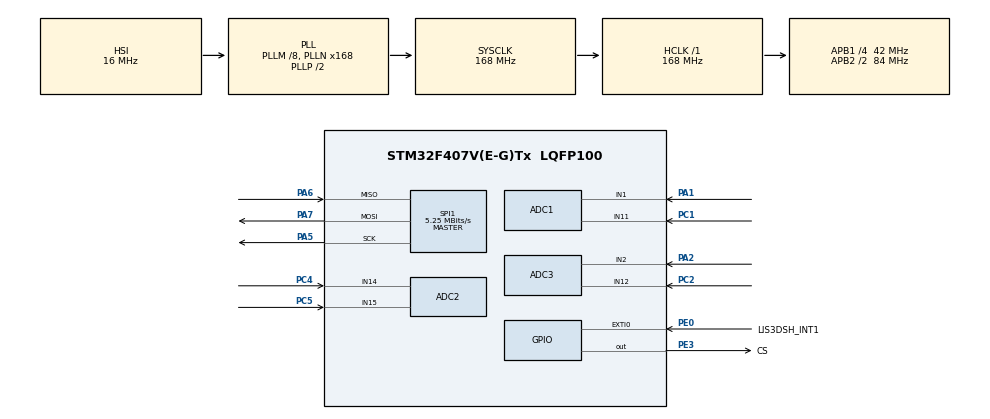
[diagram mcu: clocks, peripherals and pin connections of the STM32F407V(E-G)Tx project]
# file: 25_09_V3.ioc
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ADC1.Channel-0\#ChannelRegularConversion=ADC_CHANNEL_TEMPSENSOR
ADC1.Channel-1\#ChannelInjectedConversion=ADC_CHANNEL_1
ADC1.Channel-2\#ChannelInjectedConversion=ADC_CHANNEL_11
ADC1.DMAContinuousRequests=ENABLE
ADC1.ExternalTrigConv=ADC_EXTERNALTRIGCONV_T3_TRGO
ADC1.ExternalTrigInjecConv=ADC_EXTERNALTRIGINJECCONV_T2_TRGO
ADC1.InjNumberOfConversion=2
ADC1.InjectedOffset-1\#ChannelInjectedConversion=0
ADC1.InjectedOffset-2\#ChannelInjectedConversion=0
ADC1.InjectedRank-1\#ChannelInjectedConversion=1
ADC1.InjectedRank-2\#ChannelInjectedConversion=2
ADC1.Mode=ADC_TRIPLEMODE_INJECSIMULT
ADC1.NbrOfConversionFlag=1
ADC1.Rank-0\#ChannelRegularConversion=1
ADC1.SamplingTime-0\#ChannelRegularConversion=ADC_SAMPLETIME_480CYCLES
ADC1.SamplingTime-1\#ChannelInjectedConversion=ADC_SAMPLETIME_15CYCLES
ADC1.SamplingTime-2\#ChannelInjectedConversion=ADC_SAMPLETIME_15CYCLES
ADC1.master=1
ADC2.Channel-1\#ChannelRegularConversion=ADC_CHANNEL_14
ADC2.Channel-2\#ChannelInjectedConversion=ADC_CHANNEL_14
ADC2.Channel-3\#ChannelInjectedConversion=ADC_CHANNEL_15
ADC2.InjNumberOfConversion=2
ADC2.InjectedOffset-2\#ChannelInjectedConversion=0
ADC2.InjectedOffset-3\#ChannelInjectedConversion=0
ADC2.InjectedRank-2\#ChannelInjectedConversion=1
ADC2.InjectedRank-3\#ChannelInjectedConversion=2
ADC2.Mode=ADC_TRIPLEMODE_INJECSIMULT
ADC2.NbrOfConversionFlag=1
ADC2.Rank-1\#ChannelRegularConversion=1
ADC2.SamplingTime-1\#ChannelRegularConversion=ADC_SAMPLETIME_3CYCLES
ADC2.SamplingTime-2\#ChannelInjectedConversion=ADC_SAMPLETIME_15CYCLES
ADC2.SamplingTime-3\#ChannelInjectedConversion=ADC_SAMPLETIME_15CYCLES
ADC3.Channel-2\#ChannelRegularConversion=ADC_CHANNEL_2
ADC3.Channel-3\#ChannelInjectedConversion=ADC_CHANNEL_12
ADC3.Channel-4\#ChannelInjectedConversion=ADC_CHANNEL_2
ADC3.InjNumberOfConversion=2
ADC3.InjectedOffset-3\#ChannelInjectedConversion=0
ADC3.InjectedOffset-4\#ChannelInjectedConversion=0
ADC3.InjectedRank-3\#ChannelInjectedConversion=1
ADC3.InjectedRank-4\#ChannelInjectedConversion=2
ADC3.Mode=ADC_TRIPLEMODE_INJECSIMULT
ADC3.NbrOfConversionFlag=1
ADC3.Rank-2\#ChannelRegularConversion=1
ADC3.SamplingTime-2\#ChannelRegularConversion=ADC_SAMPLETIME_3CYCLES
ADC3.SamplingTime-3\#ChannelInjectedConversion=ADC_SAMPLETIME_15CYCLES
ADC3.SamplingTime-4\#ChannelInjectedConversion=ADC_SAMPLETIME_15CYCLES
Dma.ADC1.2.Direction=DMA_PERIPH_TO_MEMORY
Dma.ADC1.2.FIFOMode=DMA_FIFOMODE_DISABLE
Dma.ADC1.2.Instance=DMA2_Stream4
Dma.ADC1.2.MemDataAlignment=DMA_MDATAALIGN_HALFWORD
Dma.ADC1.2.MemInc=DMA_MINC_ENABLE
Dma.ADC1.2.Mode=DMA_CIRCULAR
Dma.ADC1.2.PeriphDataAlignment=DMA_PDATAALIGN_HALFWORD
Dma.ADC1.2.PeriphInc=DMA_PINC_DISABLE
Dma.ADC1.2.Priority=DMA_PRIORITY_LOW
Dma.Request0=SPI1_RX
Dma.Request1=SPI1_TX
Dma.Request2=ADC1
Dma.SPI1_RX.0.Direction=DMA_PERIPH_TO_MEMORY
Dma.SPI1_RX.0.FIFOMode=DMA_FIFOMODE_DISABLE
Dma.SPI1_RX.0.Instance=DMA2_Stream0
Dma.SPI1_RX.0.MemDataAlignment=DMA_MDATAALIGN_BYTE
Dma.SPI1_RX.0.MemInc=DMA_MINC_ENABLE
Dma.SPI1_RX.0.Mode=DMA_NORMAL
Dma.SPI1_RX.0.PeriphDataAlignment=DMA_PDATAALIGN_BYTE
Dma.SPI1_RX.0.PeriphInc=DMA_PINC_DISABLE
Dma.SPI1_RX.0.Priority=DMA_PRIORITY_LOW
Dma.SPI1_TX.1.Direction=DMA_MEMORY_TO_PERIPH
Dma.SPI1_TX.1.FIFOMode=DMA_FIFOMODE_DISABLE
Dma.SPI1_TX.1.Instance=DMA2_Stream3
Dma.SPI1_TX.1.MemDataAlignment=DMA_MDATAALIGN_BYTE
Dma.SPI1_TX.1.MemInc=DMA_MINC_ENABLE
Dma.SPI1_TX.1.Mode=DMA_NORMAL
Dma.SPI1_TX.1.PeriphDataAlignment=DMA_PDATAALIGN_BYTE
Dma.SPI1_TX.1.PeriphInc=DMA_PINC_DISABLE
Dma.SPI1_TX.1.Priority=DMA_PRIORITY_LOW
FREERTOS.Tasks01=defaultTask,24,128,StartDefaultTask,Default,NULL,Dynamic,NULL,NULL;SPI_Task,8,512,SPI_Task_Start,Default,NULL,Dynamic,NULL,NULL;Monitor_Task,8,512,Monitor_Task_Start,Default,NULL,Dynamic,NULL,NULL
FREERTOS.configUSE_NEWLIB_REENTRANT=1
Mcu.Family=STM32F4
Mcu.Name=STM32F407V(E-G)Tx
Mcu.Package=LQFP100
NVIC.ADC_IRQn=true\:5\:0\:false\:false\:true\:true\:true\:true\:true
NVIC.DMA2_Stream0_IRQn=true\:5\:0\:false\:false\:true\:true\:false\:true\:true
NVIC.DMA2_Stream3_IRQn=true\:5\:0\:false\:false\:true\:true\:false\:true\:true
NVIC.DMA2_Stream4_IRQn=true\:5\:0\:false\:false\:true\:true\:false\:true\:true
NVIC.EXTI0_IRQn=true\:5\:0\:false\:false\:true\:false\:true\:true\:true
NVIC.PriorityGroup=NVIC_PRIORITYGROUP_4
NVIC.TIM6_DAC_IRQn=true\:5\:0\:false\:false\:true\:true\:false\:true\:true
NVIC.TimeBase=TIM6_DAC_IRQn
NVIC.TimeBaseIP=TIM6
PA1.Signal=ADCx_IN1
PA2.Signal=ADCx_IN2
PA5.Mode=Full_Duplex_Master
PA5.Signal=SPI1_SCK
PA6.Mode=Full_Duplex_Master
PA6.Signal=SPI1_MISO
PA7.Mode=Full_Duplex_Master
PA7.Signal=SPI1_MOSI
PC1.Signal=ADCx_IN11
PC14-OSC32_IN.Mode=LSE-External-Oscillator
PC14-OSC32_IN.Signal=RCC_OSC32_IN
PC15-OSC32_OUT.Mode=LSE-External-Oscillator
PC15-OSC32_OUT.Signal=RCC_OSC32_OUT
PC2.Signal=ADCx_IN12
PC4.Signal=ADCx_IN14
PC5.Signal=ADCx_IN15
PE0.GPIO_Label=LIS3DSH_INT1
PE0.Signal=GPXTI0
PE3.GPIO_Label=CS
PE3.Signal=GPIO_Output
ProjectManager.HeapSize=0x200
ProjectManager.StackSize=0x400
ProjectManager.TargetToolchain=STM32CubeIDE
RCC.48MHZClocksFreq_Value=84000000
RCC.AHBFreq_Value=168000000
RCC.APB1CLKDivider=RCC_HCLK_DIV4
RCC.APB1Freq_Value=42000000
RCC.APB1TimFreq_Value=84000000
RCC.APB2CLKDivider=RCC_HCLK_DIV2
RCC.APB2Freq_Value=84000000
RCC.APB2TimFreq_Value=168000000
RCC.CortexFreq_Value=168000000
RCC.HCLKFreq_Value=168000000
RCC.HSE_VALUE=25000000
RCC.HSI_VALUE=16000000
RCC.PLLM=8
RCC.PLLN=168
RCC.SYSCLKFreq_VALUE=168000000
RCC.SYSCLKSource=RCC_SYSCLKSOURCE_PLLCLK
RCC.VCOOutputFreq_Value=336000000
SH.ADCx_IN1.0=ADC1_IN1,IN1
SH.ADCx_IN11.0=ADC1_IN11,IN11
SH.ADCx_IN12.0=ADC3_IN12,IN12
SH.ADCx_IN14.0=ADC2_IN14,IN14
SH.ADCx_IN15.0=ADC2_IN15,IN15
SH.ADCx_IN2.0=ADC3_IN2,IN2
SPI1.BaudRatePrescaler=SPI_BAUDRATEPRESCALER_16
SPI1.CalculateBaudRate=5.25 MBits/s
SPI1.Direction=SPI_DIRECTION_2LINES
SPI1.Mode=SPI_MODE_MASTER
SPI1.VirtualType=VM_MASTER
TIM2.Period=4199
TIM2.TIM_MasterOutputTrigger=TIM_TRGO_UPDATE
TIM3.Period=99
TIM3.Prescaler=8399
TIM3.TIM_MasterOutputTrigger=TIM_TRGO_UPDATE
VP_ADC1_TempSens_Input.Mode=IN-TempSens
VP_FREERTOS_VS_CMSIS_V2.Mode=CMSIS_V2
VP_SYS_VS_tim6.Mode=TIM6
VP_TIM2_VS_ClockSourceINT.Mode=Internal
VP_TIM3_VS_ClockSourceINT.Mode=Internal
board=custom

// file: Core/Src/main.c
/* USER CODE BEGIN Header */
/**
  ******************************************************************************
  * @file           : main.c
  * @brief          : Main program body
  ******************************************************************************
  * @attention
  *
  * Copyright (c) 2026 STMicroelectronics.
  * All rights reserved.
  *
  * This software is licensed under terms that can be found in the LICENSE file
  * in the root directory of this software component.
  * If no LICENSE file comes with this software, it is provided AS-IS.
  *
  ******************************************************************************
  */
/* USER CODE END Header */
#include "main.h"
#include "cmsis_os.h"

/* USER CODE BEGIN Includes */
#include "lis3dsh.h"
/* USER CODE END Includes */

/* USER CODE BEGIN PD */

#define ADC_RATE_WINDOW_MS 1000U

/* USER CODE END PD */

ADC_HandleTypeDef hadc1;
ADC_HandleTypeDef hadc2;
ADC_HandleTypeDef hadc3;
DMA_HandleTypeDef hdma_adc1;

SPI_HandleTypeDef hspi1;
DMA_HandleTypeDef hdma_spi1_rx;
DMA_HandleTypeDef hdma_spi1_tx;

TIM_HandleTypeDef htim2;
TIM_HandleTypeDef htim3;

/* Definitions for defaultTask */
osThreadId_t defaultTaskHandle;
const osThreadAttr_t defaultTask_attributes = {
  .name = "defaultTask",
  .stack_size = 128 * 4,
  .priority = (osPriority_t) osPriorityNormal,
};
/* Definitions for SPI_Task */
osThreadId_t SPI_TaskHandle;
const osThreadAttr_t SPI_Task_attributes = {
  .name = "SPI_Task",
  .stack_size = 512 * 4,
  .priority = (osPriority_t) osPriorityLow,
};
/* Definitions for Monitor_Task */
osThreadId_t Monitor_TaskHandle;
const osThreadAttr_t Monitor_Task_attributes = {
  .name = "Monitor_Task",
  .stack_size = 512 * 4,
  .priority = (osPriority_t) osPriorityLow,
};
/* USER CODE BEGIN PV */

volatile uint16_t adc_current_raw[6];
volatile uint16_t temperature_raw;

volatile uint32_t adc_frame_count = 0;

/* CubeIDE Live Expressions: kanal basina olculen ornekleme frekansi (Hz). */
volatile float adc_current_hz = 0.0f;
volatile float adc_temperature_hz = 0.0f;
volatile uint32_t adc_temperature_count = 0;

/* Yalnizca main dongusu kullanir; kesme sayaclari sifirlanmaz. */
static uint32_t adc_rate_last_tick;
static uint32_t adc_rate_last_frame_count;
static uint32_t adc_rate_last_temperature_count;

//spi
volatile LIS3DSH_AccelData_t accelData = {0};
volatile SensorDebug_t sensorDebug = {0};

/* SPI1 DMA aktarimlarini yalnizca StartTask1 baslatir. */
static uint8_t spiTxBuffer[LIS3DSH_DMA_FRAME_SIZE] =
{LIS3DSH_OUT_X_L | LIS3DSH_READ, 0, 0, 0, 0, 0, 0};

static uint8_t spiRxBuffer[LIS3DSH_DMA_FRAME_SIZE];

/* Task calismaya baslamadan ISR'lerin RTOS bildirimi yapmasini onler. */
static osThreadId_t volatile sensorTaskHandle = NULL;

/* USER CODE END PV */

void SystemClock_Config(void);
static void MX_GPIO_Init(void);
static void MX_DMA_Init(void);
static void MX_SPI1_Init(void);
static void MX_ADC1_Init(void);
static void MX_ADC2_Init(void);
static void MX_ADC3_Init(void);
static void MX_TIM2_Init(void);
static void MX_TIM3_Init(void);
void StartDefaultTask(void *argument);
void SPI_Task_Start(void *argument);
void Monitor_Task_Start(void *argument);

int main(void)
{

  /* MCU Configuration--------------------------------------------------------*/

  /* Reset of all peripherals, Initializes the Flash interface and the Systick. */
  HAL_Init();

  /* Configure the system clock */
  SystemClock_Config();

  /* Initialize all configured peripherals */
  MX_GPIO_Init();
  MX_DMA_Init();
  MX_SPI1_Init();
  MX_ADC1_Init();
  MX_ADC2_Init();
  MX_ADC3_Init();
  MX_TIM2_Init();
  MX_TIM3_Init();
  /* USER CODE BEGIN 2 */

  /* ADC2 ve ADC3 injected slave gruplarını hazırla */
    if (HAL_ADCEx_InjectedStart(&hadc2) != HAL_OK)
    {
        Error_Handler();
    }

    if (HAL_ADCEx_InjectedStart(&hadc3) != HAL_OK)
    {
        Error_Handler();
    }

    /* ADC1 regular sıcaklık ölçümünü DMA ile hazırla */
    if (HAL_ADC_Start_DMA(&hadc1,
                          (uint32_t *)&temperature_raw,
                          1) != HAL_OK)
    {
        Error_Handler();
    }

    /* ADC1 master injected grubunu ve JEOC interruptını hazırla */
    if (HAL_ADCEx_InjectedStart_IT(&hadc1) != HAL_OK)
    {
        Error_Handler();
    }

    /* Frekans olcum penceresini tetikleyiciler baslamadan ac. */
    adc_rate_last_tick = HAL_GetTick();

    /* Önce düşük hızlı sıcaklık timerı */
    if (HAL_TIM_Base_Start(&htim3) != HAL_OK)
    {
        Error_Handler();
    }

    /* En son 20 kHz akım ölçüm timerını başlat */
    if (HAL_TIM_Base_Start(&htim2) != HAL_OK)
    {
        Error_Handler();
    }

    uint8_t whoAmI = 0;
      uint8_t ctrlReg3 = 0;
      uint8_t ctrlReg4 = 0;
      const uint8_t ctrlReg3Value = (1U << 7) | (1U << 6) | (1U << 3);

      LIS3DSH_CS_HIGH;
      HAL_Delay(10);

      /* Ilk basarisiz adimda dur; okunan degerleri debugger icin sakla. */
      uint8_t sensorReady =
          LIS3DSH_ReadRegister(&hspi1, LIS3DSH_WHO_AM_I, &whoAmI, 1) == HAL_OK &&
          whoAmI == 0x3F &&
          LIS3DSH_Init(&hspi1) == INIT_SUCCESS &&
          LIS3DSH_ReadRegister(&hspi1, LIS3DSH_CTRL_REG4, &ctrlReg4, 1) == HAL_OK &&
          LIS3DSH_WriteRegister(&hspi1, LIS3DSH_CTRL_REG3, ctrlReg3Value) == HAL_OK &&
          LIS3DSH_ReadRegister(&hspi1, LIS3DSH_CTRL_REG3, &ctrlReg3, 1) == HAL_OK &&
          ctrlReg3 == ctrlReg3Value;

      sensorDebug.whoAmI = whoAmI;
      sensorDebug.ctrlReg3 = ctrlReg3;
      sensorDebug.ctrlReg4 = ctrlReg4;
      if (!sensorReady)
      {
        Error_Handler();
      }

  /* USER CODE END 2 */

  /* Init scheduler */
  osKernelInitialize();

  /* Create the thread(s) */
  /* creation of defaultTask */
  defaultTaskHandle = osThreadNew(StartDefaultTask, NULL, &defaultTask_attributes);

  /* creation of SPI_Task */
  SPI_TaskHandle = osThreadNew(SPI_Task_Start, NULL, &SPI_Task_attributes);

  /* creation of Monitor_Task */
  Monitor_TaskHandle = osThreadNew(Monitor_Task_Start, NULL, &Monitor_Task_attributes);

  /* Start scheduler */
  osKernelStart();

  /* We should never get here as control is now taken by the scheduler */

  /* Infinite loop */
  while (1)
  {

  }
}

void SystemClock_Config(void)
{
  RCC_OscInitTypeDef RCC_OscInitStruct = {0};
  RCC_ClkInitTypeDef RCC_ClkInitStruct = {0};

  /** Configure the main internal regulator output voltage
  */
  __HAL_RCC_PWR_CLK_ENABLE();
  __HAL_PWR_VOLTAGESCALING_CONFIG(PWR_REGULATOR_VOLTAGE_SCALE1);

  /** Initializes the RCC Oscillators according to the specified parameters
  * in the RCC_OscInitTypeDef structure.
  */
  RCC_OscInitStruct.OscillatorType = RCC_OSCILLATORTYPE_HSI;
  RCC_OscInitStruct.HSIState = RCC_HSI_ON;
  RCC_OscInitStruct.HSICalibrationValue = RCC_HSICALIBRATION_DEFAULT;
  RCC_OscInitStruct.PLL.PLLState = RCC_PLL_ON;
  RCC_OscInitStruct.PLL.PLLSource = RCC_PLLSOURCE_HSI;
  RCC_OscInitStruct.PLL.PLLM = 8;
  RCC_OscInitStruct.PLL.PLLN = 168;
  RCC_OscInitStruct.PLL.PLLP = RCC_PLLP_DIV2;
  RCC_OscInitStruct.PLL.PLLQ = 4;
  if (HAL_RCC_OscConfig(&RCC_OscInitStruct) != HAL_OK)
  {
    Error_Handler();
  }

  /** Initializes the CPU, AHB and APB buses clocks
  */
  RCC_ClkInitStruct.ClockType = RCC_CLOCKTYPE_HCLK|RCC_CLOCKTYPE_SYSCLK
                              |RCC_CLOCKTYPE_PCLK1|RCC_CLOCKTYPE_PCLK2;
  RCC_ClkInitStruct.SYSCLKSource = RCC_SYSCLKSOURCE_PLLCLK;
  RCC_ClkInitStruct.AHBCLKDivider = RCC_SYSCLK_DIV1;
  RCC_ClkInitStruct.APB1CLKDivider = RCC_HCLK_DIV4;
  RCC_ClkInitStruct.APB2CLKDivider = RCC_HCLK_DIV2;

  if (HAL_RCC_ClockConfig(&RCC_ClkInitStruct, FLASH_LATENCY_5) != HAL_OK)
  {
    Error_Handler();
  }
}

static void MX_ADC1_Init(void)
{

  ADC_MultiModeTypeDef multimode = {0};
  ADC_ChannelConfTypeDef sConfig = {0};
  ADC_InjectionConfTypeDef sConfigInjected = {0};

  /** Configure the global features of the ADC (Clock, Resolution, Data Alignment and number of conversion)
  */
  hadc1.Instance = ADC1;
  hadc1.Init.ClockPrescaler = ADC_CLOCK_SYNC_PCLK_DIV4;
  hadc1.Init.Resolution = ADC_RESOLUTION_12B;
  hadc1.Init.ScanConvMode = ENABLE;
  hadc1.Init.ContinuousConvMode = DISABLE;
  hadc1.Init.DiscontinuousConvMode = DISABLE;
  hadc1.Init.ExternalTrigConvEdge = ADC_EXTERNALTRIGCONVEDGE_RISING;
  hadc1.Init.ExternalTrigConv = ADC_EXTERNALTRIGCONV_T3_TRGO;
  hadc1.Init.DataAlign = ADC_DATAALIGN_RIGHT;
  hadc1.Init.NbrOfConversion = 1;
  hadc1.Init.DMAContinuousRequests = ENABLE;
  hadc1.Init.EOCSelection = ADC_EOC_SINGLE_CONV;
  if (HAL_ADC_Init(&hadc1) != HAL_OK)
  {
    Error_Handler();
  }

  /** Configure the ADC multi-mode
  */
  multimode.Mode = ADC_TRIPLEMODE_INJECSIMULT;
  multimode.TwoSamplingDelay = ADC_TWOSAMPLINGDELAY_5CYCLES;
  if (HAL_ADCEx_MultiModeConfigChannel(&hadc1, &multimode) != HAL_OK)
  {
    Error_Handler();
  }

  /** Configure for the selected ADC regular channel its corresponding rank in the sequencer and its sample time.
  */
  sConfig.Channel = ADC_CHANNEL_TEMPSENSOR;
  sConfig.Rank = 1;
  sConfig.SamplingTime = ADC_SAMPLETIME_480CYCLES;
  if (HAL_ADC_ConfigChannel(&hadc1, &sConfig) != HAL_OK)
  {
    Error_Handler();
  }

  /** Configures for the selected ADC injected channel its corresponding rank in the sequencer and its sample time
  */
  sConfigInjected.InjectedChannel = ADC_CHANNEL_1;
  sConfigInjected.InjectedRank = 1;
  sConfigInjected.InjectedNbrOfConversion = 2;
  sConfigInjected.InjectedSamplingTime = ADC_SAMPLETIME_15CYCLES;
  sConfigInjected.ExternalTrigInjecConvEdge = ADC_EXTERNALTRIGINJECCONVEDGE_RISING;
  sConfigInjected.ExternalTrigInjecConv = ADC_EXTERNALTRIGINJECCONV_T2_TRGO;
  sConfigInjected.AutoInjectedConv = DISABLE;
  sConfigInjected.InjectedDiscontinuousConvMode = DISABLE;
  sConfigInjected.InjectedOffset = 0;
  if (HAL_ADCEx_InjectedConfigChannel(&hadc1, &sConfigInjected) != HAL_OK)
  {
    Error_Handler();
  }

  /** Configures for the selected ADC injected channel its corresponding rank in the sequencer and its sample time
  */
  sConfigInjected.InjectedChannel = ADC_CHANNEL_11;
  sConfigInjected.InjectedRank = 2;
  if (HAL_ADCEx_InjectedConfigChannel(&hadc1, &sConfigInjected) != HAL_OK)
  {
    Error_Handler();
  }

}

static void MX_ADC2_Init(void)
{

  ADC_ChannelConfTypeDef sConfig = {0};
  ADC_InjectionConfTypeDef sConfigInjected = {0};

  /** Configure the global features of the ADC (Clock, Resolution, Data Alignment and number of conversion)
  */
  hadc2.Instance = ADC2;
  hadc2.Init.ClockPrescaler = ADC_CLOCK_SYNC_PCLK_DIV4;
  hadc2.Init.Resolution = ADC_RESOLUTION_12B;
  hadc2.Init.ScanConvMode = ENABLE;
  hadc2.Init.ContinuousConvMode = DISABLE;
  hadc2.Init.DiscontinuousConvMode = DISABLE;
  hadc2.Init.DataAlign = ADC_DATAALIGN_RIGHT;
  hadc2.Init.NbrOfConversion = 1;
  hadc2.Init.DMAContinuousRequests = DISABLE;
  hadc2.Init.EOCSelection = ADC_EOC_SINGLE_CONV;
  if (HAL_ADC_Init(&hadc2) != HAL_OK)
  {
    Error_Handler();
  }

  /** Configure for the selected ADC regular channel its corresponding rank in the sequencer and its sample time.
  */
  sConfig.Channel = ADC_CHANNEL_14;
  sConfig.Rank = 1;
  sConfig.SamplingTime = ADC_SAMPLETIME_3CYCLES;
  if (HAL_ADC_ConfigChannel(&hadc2, &sConfig) != HAL_OK)
  {
    Error_Handler();
  }

  /** Configures for the selected ADC injected channel its corresponding rank in the sequencer and its sample time
  */
  sConfigInjected.InjectedChannel = ADC_CHANNEL_14;
  sConfigInjected.InjectedRank = 1;
  sConfigInjected.InjectedNbrOfConversion = 2;
  sConfigInjected.InjectedSamplingTime = ADC_SAMPLETIME_15CYCLES;
  sConfigInjected.AutoInjectedConv = ENABLE;
  sConfigInjected.InjectedDiscontinuousConvMode = DISABLE;
  sConfigInjected.InjectedOffset = 0;
  if (HAL_ADCEx_InjectedConfigChannel(&hadc2, &sConfigInjected) != HAL_OK)
  {
    Error_Handler();
  }

  /** Configures for the selected ADC injected channel its corresponding rank in the sequencer and its sample time
  */
  sConfigInjected.InjectedChannel = ADC_CHANNEL_15;
  sConfigInjected.InjectedRank = 2;
  if (HAL_ADCEx_InjectedConfigChannel(&hadc2, &sConfigInjected) != HAL_OK)
  {
    Error_Handler();
  }

}

static void MX_ADC3_Init(void)
{

  ADC_ChannelConfTypeDef sConfig = {0};
  ADC_InjectionConfTypeDef sConfigInjected = {0};

  /** Configure the global features of the ADC (Clock, Resolution, Data Alignment and number of conversion)
  */
  hadc3.Instance = ADC3;
  hadc3.Init.ClockPrescaler = ADC_CLOCK_SYNC_PCLK_DIV4;
  hadc3.Init.Resolution = ADC_RESOLUTION_12B;
  hadc3.Init.ScanConvMode = ENABLE;
  hadc3.Init.ContinuousConvMode = DISABLE;
  hadc3.Init.DiscontinuousConvMode = DISABLE;
  hadc3.Init.DataAlign = ADC_DATAALIGN_RIGHT;
  hadc3.Init.NbrOfConversion = 1;
  hadc3.Init.DMAContinuousRequests = DISABLE;
  hadc3.Init.EOCSelection = ADC_EOC_SINGLE_CONV;
  if (HAL_ADC_Init(&hadc3) != HAL_OK)
  {
    Error_Handler();
  }

  /** Configure for the selected ADC regular channel its corresponding rank in the sequencer and its sample time.
  */
  sConfig.Channel = ADC_CHANNEL_2;
  sConfig.Rank = 1;
  sConfig.SamplingTime = ADC_SAMPLETIME_3CYCLES;
  if (HAL_ADC_ConfigChannel(&hadc3, &sConfig) != HAL_OK)
  {
    Error_Handler();
  }

  /** Configures for the selected ADC injected channel its corresponding rank in the sequencer and its sample time
  */
  sConfigInjected.InjectedChannel = ADC_CHANNEL_12;
  sConfigInjected.InjectedRank = 1;
  sConfigInjected.InjectedNbrOfConversion = 2;
  sConfigInjected.InjectedSamplingTime = ADC_SAMPLETIME_15CYCLES;
  sConfigInjected.AutoInjectedConv = ENABLE;
  sConfigInjected.InjectedDiscontinuousConvMode = DISABLE;
  sConfigInjected.InjectedOffset = 0;
  if (HAL_ADCEx_InjectedConfigChannel(&hadc3, &sConfigInjected) != HAL_OK)
  {
    Error_Handler();
  }

  /** Configures for the selected ADC injected channel its corresponding rank in the sequencer and its sample time
  */
  sConfigInjected.InjectedChannel = ADC_CHANNEL_2;
  sConfigInjected.InjectedRank = 2;
  if (HAL_ADCEx_InjectedConfigChannel(&hadc3, &sConfigInjected) != HAL_OK)
  {
    Error_Handler();
  }

}

static void MX_SPI1_Init(void)
{

  /* SPI1 parameter configuration*/
  hspi1.Instance = SPI1;
  hspi1.Init.Mode = SPI_MODE_MASTER;
  hspi1.Init.Direction = SPI_DIRECTION_2LINES;
  hspi1.Init.DataSize = SPI_DATASIZE_8BIT;
  hspi1.Init.CLKPolarity = SPI_POLARITY_LOW;
  hspi1.Init.CLKPhase = SPI_PHASE_1EDGE;
  hspi1.Init.NSS = SPI_NSS_SOFT;
  hspi1.Init.BaudRatePrescaler = SPI_BAUDRATEPRESCALER_16;
  hspi1.Init.FirstBit = SPI_FIRSTBIT_MSB;
  hspi1.Init.TIMode = SPI_TIMODE_DISABLE;
  hspi1.Init.CRCCalculation = SPI_CRCCALCULATION_DISABLE;
  hspi1.Init.CRCPolynomial = 10;
  if (HAL_SPI_Init(&hspi1) != HAL_OK)
  {
    Error_Handler();
  }

}

static void MX_TIM2_Init(void)
{

  TIM_ClockConfigTypeDef sClockSourceConfig = {0};
  TIM_MasterConfigTypeDef sMasterConfig = {0};

  htim2.Instance = TIM2;
  htim2.Init.Prescaler = 0;
  htim2.Init.CounterMode = TIM_COUNTERMODE_UP;
  htim2.Init.Period = 4199;
  htim2.Init.ClockDivision = TIM_CLOCKDIVISION_DIV1;
  htim2.Init.AutoReloadPreload = TIM_AUTORELOAD_PRELOAD_DISABLE;
  if (HAL_TIM_Base_Init(&htim2) != HAL_OK)
  {
    Error_Handler();
  }
  sClockSourceConfig.ClockSource = TIM_CLOCKSOURCE_INTERNAL;
  if (HAL_TIM_ConfigClockSource(&htim2, &sClockSourceConfig) != HAL_OK)
  {
    Error_Handler();
  }
  sMasterConfig.MasterOutputTrigger = TIM_TRGO_UPDATE;
  sMasterConfig.MasterSlaveMode = TIM_MASTERSLAVEMODE_DISABLE;
  if (HAL_TIMEx_MasterConfigSynchronization(&htim2, &sMasterConfig) != HAL_OK)
  {
    Error_Handler();
  }

}

static void MX_TIM3_Init(void)
{

  TIM_ClockConfigTypeDef sClockSourceConfig = {0};
  TIM_MasterConfigTypeDef sMasterConfig = {0};

  htim3.Instance = TIM3;
  htim3.Init.Prescaler = 8399;
  htim3.Init.CounterMode = TIM_COUNTERMODE_UP;
  htim3.Init.Period = 99;
  htim3.Init.ClockDivision = TIM_CLOCKDIVISION_DIV1;
  htim3.Init.AutoReloadPreload = TIM_AUTORELOAD_PRELOAD_DISABLE;
  if (HAL_TIM_Base_Init(&htim3) != HAL_OK)
  {
    Error_Handler();
  }
  sClockSourceConfig.ClockSource = TIM_CLOCKSOURCE_INTERNAL;
  if (HAL_TIM_ConfigClockSource(&htim3, &sClockSourceConfig) != HAL_OK)
  {
    Error_Handler();
  }
  sMasterConfig.MasterOutputTrigger = TIM_TRGO_UPDATE;
  sMasterConfig.MasterSlaveMode = TIM_MASTERSLAVEMODE_DISABLE;
  if (HAL_TIMEx_MasterConfigSynchronization(&htim3, &sMasterConfig) != HAL_OK)
  {
    Error_Handler();
  }

}

static void MX_DMA_Init(void)
{

  /* DMA controller clock enable */
  __HAL_RCC_DMA2_CLK_ENABLE();

  /* DMA interrupt init */
  /* DMA2_Stream0_IRQn interrupt configuration */
  HAL_NVIC_SetPriority(DMA2_Stream0_IRQn, 5, 0);
  HAL_NVIC_EnableIRQ(DMA2_Stream0_IRQn);
  /* DMA2_Stream3_IRQn interrupt configuration */
  HAL_NVIC_SetPriority(DMA2_Stream3_IRQn, 5, 0);
  HAL_NVIC_EnableIRQ(DMA2_Stream3_IRQn);
  /* DMA2_Stream4_IRQn interrupt configuration */
  HAL_NVIC_SetPriority(DMA2_Stream4_IRQn, 5, 0);
  HAL_NVIC_EnableIRQ(DMA2_Stream4_IRQn);

}

static void MX_GPIO_Init(void)
{
  GPIO_InitTypeDef GPIO_InitStruct = {0};

  /* GPIO Ports Clock Enable */
  __HAL_RCC_GPIOE_CLK_ENABLE();
  __HAL_RCC_GPIOC_CLK_ENABLE();
  __HAL_RCC_GPIOA_CLK_ENABLE();

  /*Configure GPIO pin Output Level */
  HAL_GPIO_WritePin(CS_GPIO_Port, CS_Pin, GPIO_PIN_RESET);

  /*Configure GPIO pin : CS_Pin */
  GPIO_InitStruct.Pin = CS_Pin;
  GPIO_InitStruct.Mode = GPIO_MODE_OUTPUT_PP;
  GPIO_InitStruct.Pull = GPIO_NOPULL;
  GPIO_InitStruct.Speed = GPIO_SPEED_FREQ_LOW;
  HAL_GPIO_Init(CS_GPIO_Port, &GPIO_InitStruct);

  /*Configure GPIO pin : LIS3DSH_INT1_Pin */
  GPIO_InitStruct.Pin = LIS3DSH_INT1_Pin;
  GPIO_InitStruct.Mode = GPIO_MODE_IT_RISING;
  GPIO_InitStruct.Pull = GPIO_NOPULL;
  HAL_GPIO_Init(LIS3DSH_INT1_GPIO_Port, &GPIO_InitStruct);

  /* EXTI interrupt init*/
  HAL_NVIC_SetPriority(EXTI0_IRQn, 5, 0);
  HAL_NVIC_EnableIRQ(EXTI0_IRQn);

}

/* USER CODE BEGIN 4 */

static void ADC_UpdateSamplingRates(void)
{
    uint32_t now = HAL_GetTick();

    if ((uint32_t)(now - adc_rate_last_tick) < ADC_RATE_WINDOW_MS)
    {
        return;
    }

    /* Zaman ve iki sayaci ayni kisa kritik bolgede oku.
       Onceki kesme maskesini koru; hesaplari kesmeler acikken yap. */
    const uint32_t primask = __get_PRIMASK();
    __disable_irq();
    now = HAL_GetTick();
    const uint32_t frames = adc_frame_count;
    const uint32_t temperatures = adc_temperature_count;
    __set_PRIMASK(primask);

    const uint32_t elapsed_ms = now - adc_rate_last_tick;
    const uint32_t frame_delta = frames - adc_rate_last_frame_count;
    const uint32_t temperature_delta = temperatures - adc_rate_last_temperature_count;

    /* Bir injected frame, alti akim kanalinin her birinden bir ornektir.
       Unsigned farklar tick ve sayac tasmasinda da calisir. */
    adc_current_hz = (float)frame_delta * 1000.0f / (float)elapsed_ms;
    adc_temperature_hz = (float)temperature_delta * 1000.0f / (float)elapsed_ms;

    adc_rate_last_tick = now;
    adc_rate_last_frame_count = frames;
    adc_rate_last_temperature_count = temperatures;
}

void HAL_ADC_ConvCpltCallback(ADC_HandleTypeDef *hadc)
{
    if (hadc->Instance == ADC1)
    {
        /* DMA uzunlugu 1: her tam aktarim bir sicaklik ornegidir. */
        adc_temperature_count++;
    }
}

void HAL_ADCEx_InjectedConvCpltCallback(ADC_HandleTypeDef *hadc)
{
    if (hadc->Instance == ADC1)
    {
        /* Motor 1 */
        adc_current_raw[0] = (uint16_t)ADC1->JDR1;
        adc_current_raw[1] = (uint16_t)ADC1->JDR2;

        /* Motor 2 */
        adc_current_raw[2] = (uint16_t)ADC2->JDR1;
        adc_current_raw[3] = (uint16_t)ADC2->JDR2;

        /* Motor 3 */
        adc_current_raw[4] = (uint16_t)ADC3->JDR1;
        adc_current_raw[5] = (uint16_t)ADC3->JDR2;

        adc_frame_count++;

        /* Daha sonra üç motorun FOC hesapları buraya gelecek. */
    }
}

void HAL_GPIO_EXTI_Callback(uint16_t GPIO_Pin)
{
    if (GPIO_Pin == LIS3DSH_INT1_Pin)
    {
        sensorDebug.drdyCount++;
        if (sensorTaskHandle != NULL &&
            (osThreadFlagsSet(sensorTaskHandle, SENSOR_FLAG_DRDY) & osFlagsError) != 0U)
        {
            sensorDebug.flagErrors++;
        }
    }
}

void HAL_SPI_TxRxCpltCallback(SPI_HandleTypeDef *hspi)
{
    if (hspi->Instance != SPI1)
    {
        return;
    }

    LIS3DSH_CS_HIGH;

    /* RX[0] komut sirasinda gelir; XYZ verisi RX[1..6] icindedir. */
    accelData.x = (int16_t)(((uint16_t)spiRxBuffer[2] << 8) | spiRxBuffer[1]);
    accelData.y = (int16_t)(((uint16_t)spiRxBuffer[4] << 8) | spiRxBuffer[3]);
    accelData.z = (int16_t)(((uint16_t)spiRxBuffer[6] << 8) | spiRxBuffer[5]);

    sensorDebug.dmaCompleteCount++;
    sensorDebug.sampleCount++;
    if (sensorTaskHandle != NULL &&
        (osThreadFlagsSet(sensorTaskHandle, SENSOR_FLAG_DMA_DONE) & osFlagsError) != 0U)
    {
        sensorDebug.flagErrors++;
    }
}

void HAL_SPI_ErrorCallback(SPI_HandleTypeDef *hspi)
{
    if (hspi->Instance == SPI1)
    {
        LIS3DSH_CS_HIGH;
        sensorDebug.dmaTransferErrors++;
        if (sensorTaskHandle != NULL &&
            (osThreadFlagsSet(sensorTaskHandle, SENSOR_FLAG_DMA_ERROR) & osFlagsError) != 0U)
        {
            sensorDebug.flagErrors++;
        }
    }
}

static SensorCounterSnapshot_t Sensor_ReadCounters(void)
{
    SensorCounterSnapshot_t snapshot;
    uint32_t interruptState = __get_PRIMASK();
    __disable_irq();
    snapshot.tickMs = HAL_GetTick(); /* Mevcut TIM6 tabani: milisaniye. */
    snapshot.drdy = sensorDebug.drdyCount;
    snapshot.dma = sensorDebug.dmaCompleteCount;
    snapshot.samples = sensorDebug.sampleCount;
    __set_PRIMASK(interruptState);
    return snapshot;
}

/* USER CODE END 4 */

void StartDefaultTask(void *argument)
{
  /* USER CODE BEGIN 5 */
  /* Infinite loop */
  for(;;)
  {
	  //osDelay(1000);
	  osDelay(100);
	  ADC_UpdateSamplingRates();

  }
  /* USER CODE END 5 */
}

void SPI_Task_Start(void *argument)
{
  /* USER CODE BEGIN SPI_Task_Start */
  /* Infinite loop */
	  (void)argument;
	  sensorTaskHandle = osThreadGetId();
	  const uint32_t dmaTimeoutTicks = osKernelGetTickFreq(); /* 1 saniye */

	  /* Task baslamadan gelen DRDY, INT1'i yuksek birakmis olabilir. */
	  if (HAL_GPIO_ReadPin(LIS3DSH_INT1_GPIO_Port, LIS3DSH_INT1_Pin) == GPIO_PIN_SET)
	  {
	    osThreadFlagsSet(sensorTaskHandle, SENSOR_FLAG_DRDY);
	  }
  for(;;)
  {
	    uint32_t flags = osThreadFlagsWait(SENSOR_FLAG_DRDY, osFlagsWaitAny, osWaitForever);
	    if ((flags & osFlagsError) != 0U)
	    {
	      sensorDebug.rtosErrors++;
	      break;
	    }

	    /* Yeni DRDY bildirimini koru; yalnizca eski DMA isaretlerini temizle. */
	    if ((osThreadFlagsClear(SENSOR_FLAGS_DMA) & osFlagsError) != 0U)
	    {
	      sensorDebug.rtosErrors++;
	      break;
	    }

	    LIS3DSH_CS_LOW;
	    if (HAL_SPI_TransmitReceive_DMA(&hspi1, spiTxBuffer, spiRxBuffer,
	                                  LIS3DSH_DMA_FRAME_SIZE) != HAL_OK)
	    {
	      sensorDebug.dmaStartErrors++;
	      break;
	    }

	    flags = osThreadFlagsWait(SENSOR_FLAGS_DMA, osFlagsWaitAny, dmaTimeoutTicks);
	    if ((flags & osFlagsError) != 0U)
	    {
	      sensorDebug.rtosErrors++;
	      if (flags == osFlagsErrorTimeout)
	      {
	        sensorDebug.dmaTimeouts++;
	      }
	      break;
	    }
	    if ((flags & SENSOR_FLAG_DMA_ERROR) != 0U)
	    {
	      break; /* Hata sayaci SPI callback'inde artirilir. */
	    }
  }
  /* Hata sonrasi devam eden aktarimi kapat ve yalnizca bu task'i sonlandir. */
  sensorTaskHandle = NULL;
  HAL_SPI_Abort(&hspi1);
  LIS3DSH_CS_HIGH;
  osThreadExit();
  /* USER CODE END SPI_Task_Start */
}

void Monitor_Task_Start(void *argument)
{
  /* USER CODE BEGIN Monitor_Task_Start */
  /* Infinite loop */

  for(;;)
  {
    osDelay(1000);
  }
  /* USER CODE END Monitor_Task_Start */
}

void HAL_TIM_PeriodElapsedCallback(TIM_HandleTypeDef *htim)
{
  if (htim->Instance == TIM6) {
    HAL_IncTick();
  }
}

void Error_Handler(void)
{
  __disable_irq();
  while (1)
  {
  }
}
